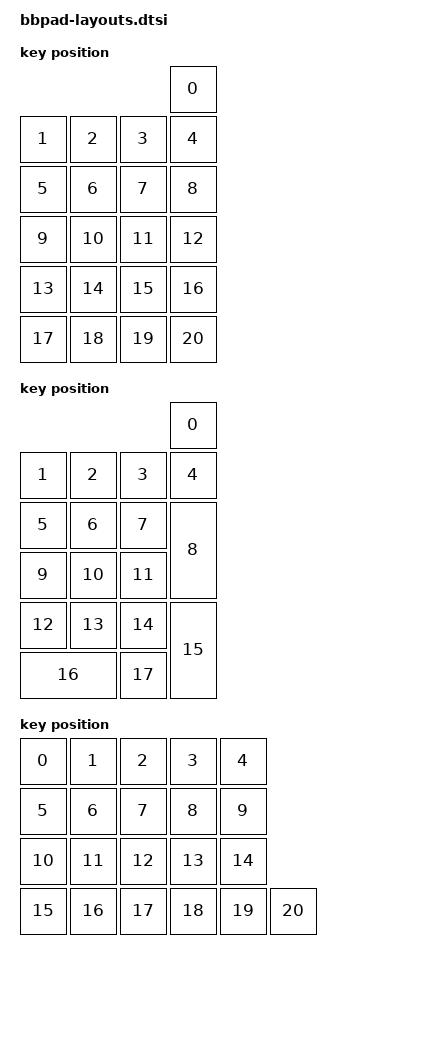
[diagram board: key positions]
/*
 * Copyright (c) 2024 The ZMK Contributors
 *
 * SPDX-License-Identifier: MIT
 */

#include <physical_layouts.dtsi>

/ {
    chosen {
        zmk,physical-layout = &horizontal_all_layout;
    };

    vertical_all_layout: keymap_layout_0 {
        compatible = "zmk,physical-layout";
        display-name = "Vertical";

        transform = <&vertical_all_transform>;

        keys  //                     w   h    x    y     rot   rx   ry
            = <&key_physical_attrs 100 100  300    0       0    0    0>
            , <&key_physical_attrs 100 100    0  100       0    0    0>
            , <&key_physical_attrs 100 100  100  100       0    0    0>
            , <&key_physical_attrs 100 100  200  100       0    0    0>
            , <&key_physical_attrs 100 100  300  100       0    0    0>
            , <&key_physical_attrs 100 100    0  200       0    0    0>
            , <&key_physical_attrs 100 100  100  200       0    0    0>
            , <&key_physical_attrs 100 100  200  200       0    0    0>
            , <&key_physical_attrs 100 100  300  200       0    0    0>
            , <&key_physical_attrs 100 100    0  300       0    0    0>
            , <&key_physical_attrs 100 100  100  300       0    0    0>
            , <&key_physical_attrs 100 100  200  300       0    0    0>
            , <&key_physical_attrs 100 100  300  300       0    0    0>
            , <&key_physical_attrs 100 100    0  400       0    0    0>
            , <&key_physical_attrs 100 100  100  400       0    0    0>
            , <&key_physical_attrs 100 100  200  400       0    0    0>
            , <&key_physical_attrs 100 100  300  400       0    0    0>
            , <&key_physical_attrs 100 100    0  500       0    0    0>
            , <&key_physical_attrs 100 100  100  500       0    0    0>
            , <&key_physical_attrs 100 100  200  500       0    0    0>
            , <&key_physical_attrs 100 100  300  500       0    0    0>
            ;
    };

    numpad_layout: keymap_layout_1 {
        compatible = "zmk,physical-layout";
        display-name = "Numpad";

        transform = <&numpad_transform>;

        keys  //                     w   h    x    y     rot   rx   ry
            = <&key_physical_attrs 100 100  300    0       0    0    0>
            , <&key_physical_attrs 100 100    0  100       0    0    0>
            , <&key_physical_attrs 100 100  100  100       0    0    0>
            , <&key_physical_attrs 100 100  200  100       0    0    0>
            , <&key_physical_attrs 100 100  300  100       0    0    0>
            , <&key_physical_attrs 100 100    0  200       0    0    0>
            , <&key_physical_attrs 100 100  100  200       0    0    0>
            , <&key_physical_attrs 100 100  200  200       0    0    0>
            , <&key_physical_attrs 100 200  300  200       0    0    0>
            , <&key_physical_attrs 100 100    0  300       0    0    0>
            , <&key_physical_attrs 100 100  100  300       0    0    0>
            , <&key_physical_attrs 100 100  200  300       0    0    0>
            , <&key_physical_attrs 100 100    0  400       0    0    0>
            , <&key_physical_attrs 100 100  100  400       0    0    0>
            , <&key_physical_attrs 100 100  200  400       0    0    0>
            , <&key_physical_attrs 100 200  300  400       0    0    0>
            , <&key_physical_attrs 200 100    0  500       0    0    0>
            , <&key_physical_attrs 100 100  200  500       0    0    0>
            ;
    };

    horizontal_all_layout: keymap_layout_2 {
        compatible = "zmk,physical-layout";
        display-name = "Horizontal";

        transform = <&horizontal_all_transform>;

        keys  //                     w   h    x    y     rot   rx   ry
            = <&key_physical_attrs 100 100    0    0       0    0    0>
            , <&key_physical_attrs 100 100  100    0       0    0    0>
            , <&key_physical_attrs 100 100  200    0       0    0    0>
            , <&key_physical_attrs 100 100  300    0       0    0    0>
            , <&key_physical_attrs 100 100  400    0       0    0    0>
            , <&key_physical_attrs 100 100    0  100       0    0    0>
            , <&key_physical_attrs 100 100  100  100       0    0    0>
            , <&key_physical_attrs 100 100  200  100       0    0    0>
            , <&key_physical_attrs 100 100  300  100       0    0    0>
            , <&key_physical_attrs 100 100  400  100       0    0    0>
            , <&key_physical_attrs 100 100    0  200       0    0    0>
            , <&key_physical_attrs 100 100  100  200       0    0    0>
            , <&key_physical_attrs 100 100  200  200       0    0    0>
            , <&key_physical_attrs 100 100  300  200       0    0    0>
            , <&key_physical_attrs 100 100  400  200       0    0    0>
            , <&key_physical_attrs 100 100    0  300       0    0    0>
            , <&key_physical_attrs 100 100  100  300       0    0    0>
            , <&key_physical_attrs 100 100  200  300       0    0    0>
            , <&key_physical_attrs 100 100  300  300       0    0    0>
            , <&key_physical_attrs 100 100  400  300       0    0    0>
            , <&key_physical_attrs 100 100  500  300       0    0    0>
            ;
    };

    position_map {
        compatible = "zmk,physical-layout-position-map";

        vertical_all_map {
            physical-layout = <&vertical_all_layout>;
            positions
                = < 0  1  2  3  4  5  6  7  8  9 10 11 12 13 14 15>
                , <16 17 18 19 20>
                ;
        };

        numpad_map {
            physical-layout = <&numpad_layout>;
            positions
                = < 0  1  2  3  4  5  6  7  8  9 10 11 18 12 13 14>
                , <15 16 19 17 20>
                ;
        };

        horizontal_all_map {
            physical-layout = <&horizontal_all_layout>;
            positions
                = <20  4  9 14 19  3  8 13 18  2  7 12 17  1  6 11>
                , <16  0  5 10 15>
                ;
        };
    };
};
